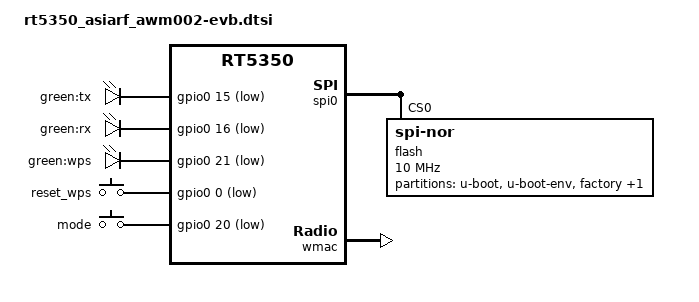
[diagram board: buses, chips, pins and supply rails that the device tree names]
#include "rt5350.dtsi"

#include <dt-bindings/gpio/gpio.h>
#include <dt-bindings/input/input.h>

/ {
	compatible = "asiarf,awm002-evb", "ralink,rt5350-soc";

	leds {
		compatible = "gpio-leds";

		tx {
			label = "green:tx";
			gpios = <&gpio0 15 GPIO_ACTIVE_LOW>;
		};

		rx {
			label = "green:rx";
			gpios = <&gpio0 16 GPIO_ACTIVE_LOW>;
		};

		wps {
			label = "green:wps";
			gpios = <&gpio0 21 GPIO_ACTIVE_LOW>;
		};
	};

	keys {
		compatible = "gpio-keys-polled";
		poll-interval = <20>;

		reset_wps {
			label = "reset_wps";
			gpios = <&gpio0 0 GPIO_ACTIVE_LOW>;
			linux,code = <KEY_RESTART>;
		};

		mode {
			label = "mode";
			gpios = <&gpio0 20 GPIO_ACTIVE_LOW>;
			linux,code = <BTN_0>;
		};
	};
};

&spi0 {
	status = "okay";

	flash@0 {
		reg = <0>;
		compatible = "jedec,spi-nor";
		spi-max-frequency = <10000000>;

		partitions {
			compatible = "fixed-partitions";
			#address-cells = <1>;
			#size-cells = <1>;

			partition@0 {
				label = "u-boot";
				reg = <0x0 0x30000>;
				read-only;
			};

			partition@30000 {
				label = "u-boot-env";
				reg = <0x30000 0x10000>;
				read-only;
			};

			factory: partition@40000 {
				label = "factory";
				reg = <0x40000 0x10000>;
				read-only;
			};

			firmware: partition@50000 {
				compatible = "denx,uimage";
				label = "firmware";
				/* reg property is set based on flash size in DTS files */
			};
		};
	};
};

&ethernet {
	nvmem-cells = <&macaddr_factory_28>;
	nvmem-cell-names = "mac-address";
};

&wmac {
	ralink,mtd-eeprom = <&factory 0x0>;
};

&state_default {
	gpio {
		groups = "i2c", "jtag";
		function = "gpio";
	};
};

&esw {
	mediatek,portmap = <0x3f>;
};

&factory {
	compatible = "nvmem-cells";
	#address-cells = <1>;
	#size-cells = <1>;

	macaddr_factory_28: macaddr@28 {
		reg = <0x28 0x6>;
	};
};
